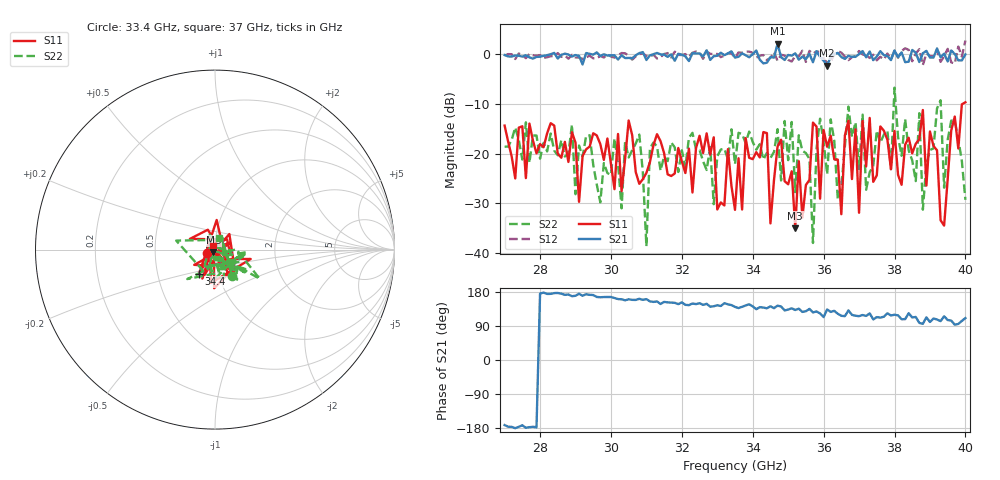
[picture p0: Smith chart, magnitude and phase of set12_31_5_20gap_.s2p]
! Quiescent point : V1=-1.76903E-02 I1=+1.41807E-03 V2=-2.49952E-02 I2=-1.41584E-03
! Pulsed point : V1=-1.78264E-02 I1=+1.44230E-03 V2=-2.44922E-02 I2=-1.40635E-03
! Period : +2.00000E-04
! Input Supply timing : delay=+1.60000E-06 width=+2.20000E-06
! Output Supply timing : delay=+1.70000E-06 width=+2.00000E-06
! VNA timing : delay=+2.40000E-06 width=+1.10000E-06
# Hz S RI R 50
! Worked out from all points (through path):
!   131 points, 27 GHz to 40 GHz, reference 50 ohm
!   highest |S21| = 2.13 dB at 34.7 GHz (marker M1); lowest = -2.3 dB at 36.1 GHz (marker M2)
!   group delay of S21, straight-line fit = 17.9 ps
!   lowest |S11| = -35.0 dB at 35.2 GHz (marker M3), VSWR 1.04, Z = 49.1 - j1.5 ohm
!   |S11| at or under -10 dB: start of sweep to 39.91 GHz
!   |S22| runs from -38.6 to -6.7 dB; largest |S21 - S12| = 0.45
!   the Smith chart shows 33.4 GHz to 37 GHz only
!   S11 on the Smith chart (normalised r, x): 33.4 GHz: 0.91, -0.03; 34.4 GHz: 0.81, -0.22; 37 GHz: 0.97, +0.04
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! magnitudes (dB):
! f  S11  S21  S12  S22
! 27 GHz  -14.3  -0.1  -0.2  -18.6
! 29.2 GHz  -20.4  -2.0  -0.9  -20.5
! 30.8 GHz  -26.0  0.2  0.1  -16.1
! 31 GHz  -23.9  -1.1  -0.3  -38.6
! 31.4 GHz  -17.5  0.0  -0.5  -23.4
! 33.4 GHz  -26.5  0.6  0.2  -15.1
! 33.5 GHz  -31.3  -0.7  -0.7  -22.1
! 34.4 GHz  -15.8  -1.7  -1.2  -19.8
! 34.5 GHz  -34.0  -0.5  -0.7  -20.9
! 34.7 GHz  -18.6  2.1  -1.3  -15.0
! 35.2 GHz  -35.0  0.2  -0.3  -27.7
! 35.7 GHz  -13.7  -1.6  0.1  -38.0
! 35.9 GHz  -29.0  -0.5  0.5  -12.9
! 36.1 GHz  -18.6  -2.3  -1.7  -24.1
! 37 GHz  -31.9  0.0  0.7  -23.0
! 37.1 GHz  -13.4  0.7  0.0  -12.1
! 37.9 GHz  -23.1  -1.2  -0.9  -23.1
! 38.7 GHz  -17.1  -1.5  1.0  -11.8
! 38.8 GHz  -11.2  0.2  -2.2  -31.2
! 39.3 GHz  -33.4  -0.6  -1.5  -9.2
! 39.4 GHz  -34.5  0.1  -0.4  -26.8
! 40 GHz  -9.6  0.0  2.8  -29.3
